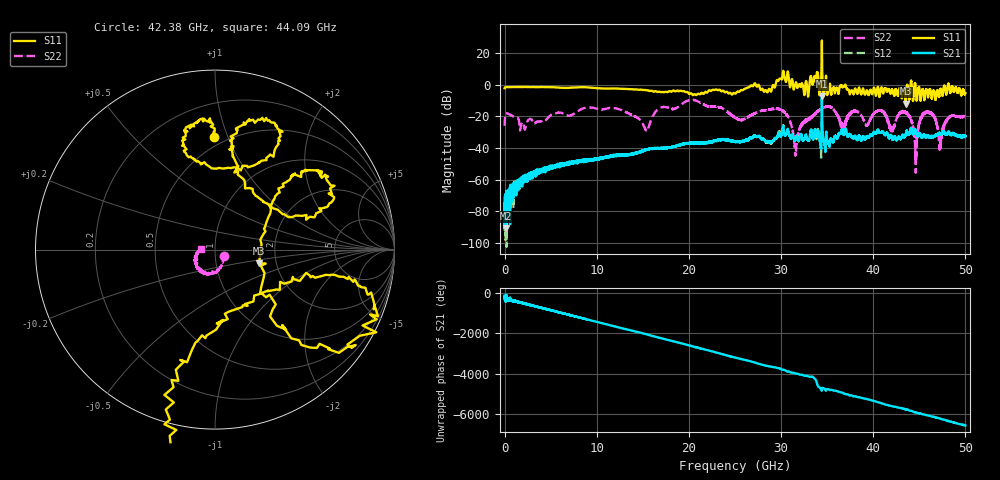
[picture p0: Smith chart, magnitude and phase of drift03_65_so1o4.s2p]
!Created with skrf (http://scikit-rf.org).
# Hz S RI R 50.0
!freq ReS11 ImS11 ReS21 ImS21 ReS12 ImS12 ReS22 ImS22
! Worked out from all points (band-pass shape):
!   10000 points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, 5.3 MHz to 50 GHz, reference 50 ohm
!   highest |S21| = -7.21 dB at 34.43 GHz (marker M1); lowest = -90.8 dB at 130.3 MHz (marker M2)
!   |S21| within 3 dB of the highest: 34.42718 GHz to 34.43526 GHz (8.081 MHz wide, 0.0235 % of centre)
!   lowest |S11| = -11.9 dB at 43.53 GHz (marker M3), VSWR 1.68, Z = 80.7 - j13.3 ohm
!   |S11| at or under -10 dB: 43.48719 GHz to 43.55108 GHz (63.89 MHz wide, 0.147 % of centre); 44.31356 GHz to 44.31643 GHz (2.872 MHz wide, 0.00648 % of centre); 44.70937 GHz to 44.71108 GHz (1.717 MHz wide, 0.00384 % of centre)
!   |S22| runs from -55.5 to -9.4 dB; largest |S21 - S12| = 0.13
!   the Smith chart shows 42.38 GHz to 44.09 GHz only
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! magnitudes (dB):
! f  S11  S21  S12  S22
! 5.3 MHz  -2.1  -82.4  -80.6  -25.9
! 130.3 MHz  -1.4  -90.8  -69.1  -18.3
! 2.17 GHz  -1.3  -61.2  -60.0  -27.7
! 8.34 GHz  -1.5  -47.7  -47.9  -15.3
! 15.4 GHz  -3.4  -41.0  -40.8  -29.0
! 16.67 GHz  -4.4  -40.1  -40.0  -15.3
! 20.45 GHz  -6.5  -36.5  -36.9  -9.5
! 25.01 GHz  -5.5  -35.8  -35.9  -20.7
! 29.96 GHz  3.9  -32.3  -32.3  -15.7
! 31.59 GHz  1.3  -34.1  -34.1  -44.0
! 33.34 GHz  2.7  -29.9  -30.4  -20.2
! 34.43 GHz  28.1  -7.2  -8.9  -14.5
! 36.71 GHz  -1.4  -30.2  -30.2  -27.3
! 37.97 GHz  -3.4  -32.5  -32.5  -16.6
! 41.67 GHz  -2.9  -33.5  -33.2  -23.9
! 43.53 GHz  -11.9  -31.3  -31.4  -17.3
! 44.62 GHz  -2.4  -29.4  -29.5  -53.3
! 45.61 GHz  -6.5  -32.4  -32.5  -17.4
! 46.55 GHz  -3.4  -32.6  -32.5  -19.4
! 47.26 GHz  -3.8  -30.5  -30.4  -41.1
! 48.26 GHz  -2.0  -30.5  -30.1  -20.3
! 50 GHz  -5.2  -32.6  -32.4  -19.7
